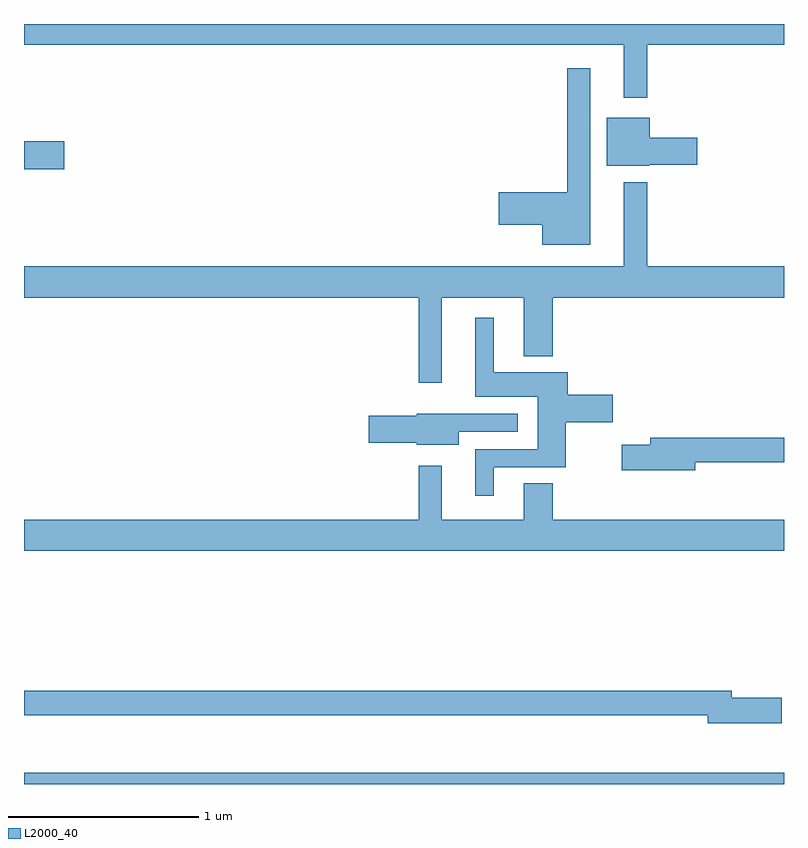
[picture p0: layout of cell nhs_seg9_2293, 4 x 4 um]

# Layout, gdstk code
import gdstk
lib = gdstk.Library(unit=1e-6, precision=1e-09)
def R(c, l, rs):  # rectangles x0, y0, x1, y1
    for r in rs: c.add(gdstk.rectangle(r[:2], r[2:], *l))
def P(c, l, *ps):  # polygons
    for p in ps: c.add(gdstk.Polygon(p, *l))
L2000_40 = (2000, 40)

nhs_seg9_2293 = lib.new_cell('nhs_seg9_2293')
R(nhs_seg9_2293, L2000_40, [(241,1220.5,245,1220.56), (241,1223.735,241.213,1223.882)])
P(nhs_seg9_2293, L2000_40, [(244.279,1224.392),(245,1224.392),(245,1224.5),(241,1224.5),(241,1224.392),(244.157,1224.392),(244.157,1224.111),(244.279,1224.111)],
  [(243.979,1224.268),(243.858,1224.268),(243.858,1223.615),(243.498,1223.615),(243.498,1223.444),(243.728,1223.444),(243.728,1223.339),(243.979,1223.339)],
  [(244.29,1223.759),(244.543,1223.759),(244.543,1223.901),(244.294,1223.901),(244.294,1224.007),(244.067,1224.007),(244.067,1223.753),(244.29,1223.753)],
  [(243.199,1223.06),(243.629,1223.06),(243.629,1222.751),(243.782,1222.751),(243.782,1223.06),(245,1223.06),(245,1223.224),(244.279,1223.224),(244.279,1223.668),(244.157,1223.668),(244.157,1223.224),(241,1223.224),(241,1223.06),(243.078,1223.06),(243.078,1222.611),(243.199,1222.611)],
  [(243.472,1222.167),(243.85,1222.167),(243.85,1222.403),(244.099,1222.403),(244.099,1222.55),(243.863,1222.55),(243.863,1222.666),(243.472,1222.666),(243.472,1222.954),(243.374,1222.954),(243.374,1222.538),(243.704,1222.538),(243.704,1222.263),(243.374,1222.263),(243.374,1222.017),(243.472,1222.017)],
  [(243.289,1222.353),(243.598,1222.353),(243.598,1222.449),(243.285,1222.449),(243.285,1222.45),(243.066,1222.45),(243.066,1222.439),(242.814,1222.439),(242.814,1222.297),(243.066,1222.297),(243.066,1222.286),(243.289,1222.286)],
  [(244.534,1222.194),(245,1222.194),(245,1222.322),(244.295,1222.322),(244.295,1222.286),(244.146,1222.286),(244.146,1222.151),(244.534,1222.151)],
  [(245,1221.892),(243.782,1221.892),(243.782,1222.082),(243.629,1222.082),(243.629,1221.892),(243.199,1221.892),(243.199,1222.174),(243.078,1222.174),(243.078,1221.892),(241,1221.892),(241,1221.728),(245,1221.728)],
  [(244.987,1220.954),(244.726,1220.954),(244.726,1220.99),(241,1220.99),(241,1220.862),(244.598,1220.862),(244.598,1220.819),(244.987,1220.819)])

lib.write_gds('nhs_seg9_2293.gds')
